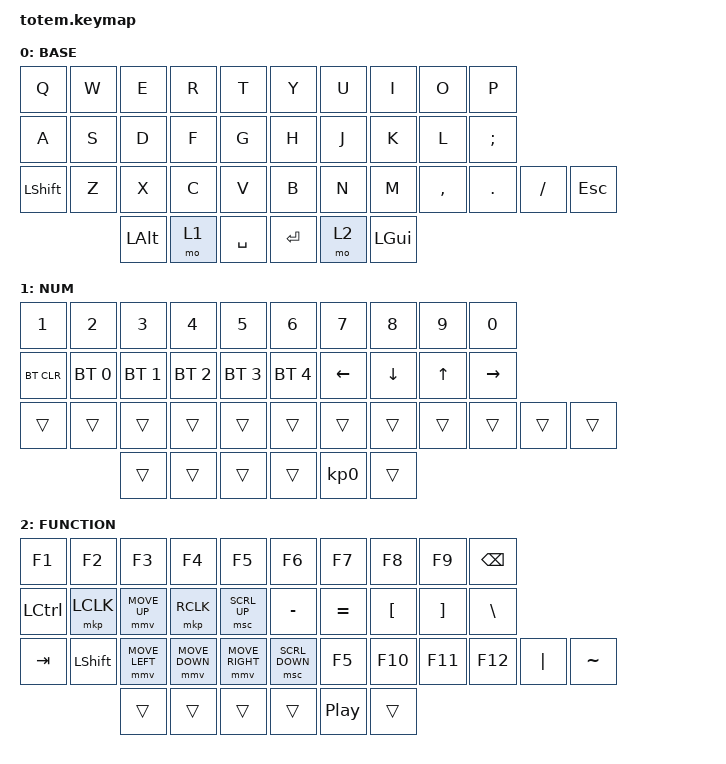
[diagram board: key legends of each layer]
//
//                                                        ▀▀▀▀▀     ▀▀▀▀▀          ▀▀█▀▀
//                                                        ▄▀▀▀▄  ▄  ▄▀▀▀▄  ▄  ▄▀▀▀▄  █  ▄▀▀▀▄
//                                                        █   █  █  █   █  █  █   █  █  █   █
//                                                         ▀▀▀   █   ▀▀▀   █   ▀▀▀   ▀   ▀▀▀
//                                                               █      ▄▄▄█▄▄▄    █   █  
//                                                               ▀      █  █  █     █▄█
//                                                             ▀▀▀▀▀    █  █  █      ▀
//                                                                      ▀  ▀  ▀
//
// ▄▄▄▄▄▄▄▄▄▄▄▄▄▄▄▄▄▄▄▄▄▄▄▄▄▄▄▄▄▄▄▄▄▄▄▄▄▄▄▄▄▄▄▄▄▄▄▄▄▄▄▄▄▄▄▄▄▄▄▄▄▄▄▄▄▄▄▄▄▄▄▄▄▄▄▄▄▄▄▄▄▄▄▄▄▄▄▄▄▄▄▄▄▄▄▄▄▄▄▄▄▄▄▄▄▄▄▄▄▄▄▄▄▄▄▄▄▄▄▄▄▄▄▄▄▄▄▄▄▄▄▄▄▄▄▄▄▄▄▄▄▄▄▄▄▄▄▄▄
       

#define ZMK_POINTING_DEFAULT_MOVE_VAL 1500

#include <behaviors.dtsi>
#include <dt-bindings/zmk/keys.h>
#include <dt-bindings/zmk/bt.h>
#include <dt-bindings/zmk/outputs.h>
#include <dt-bindings/zmk/pointing.h>

#define BASE 0
#define NAV  1
#define SYM  2

/ {
        keymap {
                compatible = "zmk,keymap";
// ▄▄▄▄▄▄▄▄▄▄▄▄▄▄▄▄▄▄▄▄▄▄▄▄▄▄▄▄▄▄▄▄▄▄▄▄▄▄▄▄▄▄▄▄▄▄▄▄▄▄▄▄▄▄▄▄▄▄▄▄▄▄▄▄▄▄▄▄▄▄▄▄▄▄▄▄▄▄▄▄▄▄▄▄▄▄▄▄▄▄▄▄▄▄▄▄▄▄▄▄▄▄▄▄▄▄▄▄▄▄▄▄▄▄▄▄▄▄▄▄▄▄▄▄▄▄▄▄▄▄▄▄▄▄▄▄▄▄▄▄▄▄▄▄▄▄▄▄▄

                base_layer {
// ┏━━━━━━━━━━━━━━━━━━━━━━━━━━━━━━━━━━━━━━━┓
label= "BASE"                              ;
// ┗━━━━━━━━━━━━━━━━━━━━━━━━━━━━━━━━━━━━━━━┛
//             ┏━━━━━━━━━━━┳━━━━━━━━━━━┳━━━━━━━━━━━┳━━━━━━━━━━━┳━━━━━━━━━━━┓   ┏━━━━━━━━━━━┳━━━━━━━━━━━┳━━━━━━━━━━━┳━━━━━━━━━━━┳━━━━━━━━━━━┓
//             ┃     Q     ┃     W     ┃     E     ┃     R     ┃     T     ┃   ┃     Y     ┃     U     ┃     I     ┃     O     ┃     P     ┃
//             ┣━━━━━━━━━━━╋━━━━━━━━━━━╋━━━━━━━━━━━╋━━━━━━━━━━━╋━━━━━━━━━━━┫   ┣━━━━━━━━━━━╋━━━━━━━━━━━╋━━━━━━━━━━━╋━━━━━━━━━━━╋━━━━━━━━━━━┫
//             ┃     A     ┃     S     ┃     D     ┃     F     ┃     G     ┃   ┃     H     ┃     J     ┃     K     ┃     L     ┃     ;     ┃
// ┏━━━━━━━━━━━╋━━━━━━━━━━━╋━━━━━━━━━━━╋━━━━━━━━━━━╋━━━━━━━━━━━╋━━━━━━━━━━━┫   ┣━━━━━━━━━━━╋━━━━━━━━━━━╋━━━━━━━━━━━╋━━━━━━━━━━━╋━━━━━━━━━━━╋━━━━━━━━━━━┓
// ┃   SHIFT   ┃     Z     ┃     X     ┃     C     ┃     V     ┃     B     ┃   ┃     N     ┃     M     ┃     ,     ┃     .     ┃     /     ┃    ESC    ┃
// ┗━━━━━━━━━━━┻━━━━━━━━━━━┻━━━━━━━━━━━╋━━━━━━━━━━━╋━━━━━━━━━━━╋━━━━━━━━━━━┫   ┣━━━━━━━━━━━╋━━━━━━━━━━━╋━━━━━━━━━━━╋━━━━━━━━━━━┻━━━━━━━━━━━┻━━━━━━━━━━━┛
//                                     ┃    ALT    ┃    LWR    ┃    SPC    ┃   ┃   ENTER   ┃    RSE    ┃    GUI    ┃
//                                     ┗━━━━━━━━━━━┻━━━━━━━━━━━┻━━━━━━━━━━━┛   ┗━━━━━━━━━━━┻━━━━━━━━━━━┻━━━━━━━━━━━┛
 bindings = <
// ╷           ╷           ╷           ╷           ╷           ╷           ╷   ╷           ╷           ╷           ╷           ╷           ╷           ╷

                &kp Q       &kp W       &kp E       &kp R       &kp T           &kp Y       &kp U       &kp I       &kp O       &kp P
                &kp A       &kp S       &kp D       &kp F       &kp G           &kp H       &kp J       &kp K       &kp L       &kp SEMI
                &kp LSHFT   &kp Z       &kp X       &kp C       &kp V       &kp B           &kp N       &kp M       &kp COMMA   &kp DOT     &kp FSLH    &kp ESC
                                        &kp LEFT_ALT &mo 1       &kp SPACE       &kp RET   &mo 2         &kp LEFT_GUI
                        >;
                };

// ▄▄▄▄▄▄▄▄▄▄▄▄▄▄▄▄▄▄▄▄▄▄▄▄▄▄▄▄▄▄▄▄▄▄▄▄▄▄▄▄▄▄▄▄▄▄▄▄▄▄▄▄▄▄▄▄▄▄▄▄▄▄▄▄▄▄▄▄▄▄▄▄▄▄▄▄▄▄▄▄▄▄▄▄▄▄▄▄▄▄▄▄▄▄▄▄▄▄▄▄▄▄▄▄▄▄▄▄▄▄▄▄▄▄▄▄▄▄▄▄▄▄▄▄▄▄▄▄▄▄▄▄▄▄▄▄▄▄▄▄▄▄▄▄▄▄▄▄▄


                nav_layer {
// ┏━━━━━━━━━━━━━━━━━━━━━━━━━━━━━━━━━━━━━━━┓
label= "NUM"                               ;
// ┗━━━━━━━━━━━━━━━━━━━━━━━━━━━━━━━━━━━━━━━┛
//             ┏━━━━━━━━━━━┳━━━━━━━━━━━┳━━━━━━━━━━━┳━━━━━━━━━━━┳━━━━━━━━━━━┓   ┏━━━━━━━━━━━┳━━━━━━━━━━━┳━━━━━━━━━━━┳━━━━━━━━━━━┳━━━━━━━━━━━┓
//             ┃     1     ┃     2     ┃     3     ┃     4     ┃     5     ┃   ┃     6     ┃     7     ┃     8     ┃     9     ┃     0     ┃
//             ┣━━━━━━━━━━━╋━━━━━━━━━━━╋━━━━━━━━━━━╋━━━━━━━━━━━╋━━━━━━━━━━━┫   ┣━━━━━━━━━━━╋━━━━━━━━━━━╋━━━━━━━━━━━╋━━━━━━━━━━━╋━━━━━━━━━━━┫
//             ┃ BT CLEAR  ┃   BT 1    ┃   BT 2    ┃   BT 3    ┃   BT 4    ┃   ┃   BT 5    ┃   LEFT    ┃   DOWN    ┃    UP     ┃   RIGHT   ┃
// ┏━━━━━━━━━━━╋━━━━━━━━━━━╋━━━━━━━━━━━╋━━━━━━━━━━━╋━━━━━━━━━━━╋━━━━━━━━━━━┫   ┣━━━━━━━━━━━╋━━━━━━━━━━━╋━━━━━━━━━━━╋━━━━━━━━━━━╋━━━━━━━━━━━╋━━━━━━━━━━━┓
// ┃           ┃           ┃           ┃           ┃           ┃           ┃   ┃           ┃           ┃           ┃           ┃           ┃           ┃
// ┗━━━━━━━━━━━┻━━━━━━━━━━━┻━━━━━━━━━━━╋━━━━━━━━━━━╋━━━━━━━━━━━╋━━━━━━━━━━━┫   ┣━━━━━━━━━━━╋━━━━━━━━━━━╋━━━━━━━━━━━╋━━━━━━━━━━━┻━━━━━━━━━━━┻━━━━━━━━━━━┛
//                                     ┃           ┃    TAB    ┃    SPC    ┃   ┃    DEL    ┃     0     ┃           ┃
//                                     ┗━━━━━━━━━━━┻━━━━━━━━━━━┻━━━━━━━━━━━┛   ┗━━━━━━━━━━━┻━━━━━━━━━━━┻━━━━━━━━━━━┛
 bindings = <
// ╷           ╷           ╷           ╷           ╷           ╷           ╷   ╷           ╷           ╷           ╷           ╷           ╷           ╷

                &kp N1      &kp N2      &kp N3      &kp N4      &kp N5          &kp N6      &kp N7      &kp N8      &kp N9      &kp N0
                &bt BT_CLR  &bt BT_SEL 0 &bt BT_SEL 1 &bt BT_SEL 2 &bt BT_SEL 3  &bt BT_SEL 4 &kp LEFT    &kp DOWN    &kp UP      &kp RIGHT
    &trans      &trans      &trans      &trans      &trans      &trans          &trans      &trans      &trans      &trans      &trans      &trans
                                        &trans      &trans      &trans          &trans      &kp KP_N0   &trans      
                        >;
                };

// ▄▄▄▄▄▄▄▄▄▄▄▄▄▄▄▄▄▄▄▄▄▄▄▄▄▄▄▄▄▄▄▄▄▄▄▄▄▄▄▄▄▄▄▄▄▄▄▄▄▄▄▄▄▄▄▄▄▄▄▄▄▄▄▄▄▄▄▄▄▄▄▄▄▄▄▄▄▄▄▄▄▄▄▄▄▄▄▄▄▄▄▄▄▄▄▄▄▄▄▄▄▄▄▄▄▄▄▄▄▄▄▄▄▄▄▄▄▄▄▄▄▄▄▄▄▄▄▄▄▄▄▄▄▄▄▄▄▄▄▄▄▄▄▄▄▄▄▄▄


                sim_layer {
// ┏━━━━━━━━━━━━━━━━━━━━━━━━━━━━━━━━━━━━━━━┓
label= "FUNCTION"                          ;
// ┗━━━━━━━━━━━━━━━━━━━━━━━━━━━━━━━━━━━━━━━┛
//             ┏━━━━━━━━━━━┳━━━━━━━━━━━┳━━━━━━━━━━━┳━━━━━━━━━━━┳━━━━━━━━━━━┓   ┏━━━━━━━━━━━┳━━━━━━━━━━━┳━━━━━━━━━━━┳━━━━━━━━━━━┳━━━━━━━━━━━┓
//             ┃    F1     ┃    F2     ┃    F3     ┃    F4     ┃    F5     ┃   ┃    F6     ┃    F7     ┃    F8     ┃    F9     ┃   BSPC    ┃
//             ┣━━━━━━━━━━━╋━━━━━━━━━━━╋━━━━━━━━━━━╋━━━━━━━━━━━╋━━━━━━━━━━━┫   ┣━━━━━━━━━━━╋━━━━━━━━━━━╋━━━━━━━━━━━╋━━━━━━━━━━━╋━━━━━━━━━━━┫
//             ┃   CTRL    ┃ L-CLICK   ┃ MOVE UP   ┃ R-CLICK   ┃ SCRL UP   ┃   ┃     -     ┃     =     ┃     [     ┃     ]     ┃ BACKSLASH┃
// ┏━━━━━━━━━━━╋━━━━━━━━━━━╋━━━━━━━━━━━╋━━━━━━━━━━━╋━━━━━━━━━━━╋━━━━━━━━━━━┫   ┣━━━━━━━━━━━╋━━━━━━━━━━━╋━━━━━━━━━━━╋━━━━━━━━━━━╋━━━━━━━━━━━╋━━━━━━━━━━━┓
// ┃    TAB    ┃   SHIFT   ┃ MOVE LEFT ┃ MOVE DOWN ┃ MOVE RIGHT┃ SCRL DOWN┃   ┃    F5     ┃   F10     ┃   F11     ┃   F12     ┃     |     ┃     ~     ┃
// ┗━━━━━━━━━━━┻━━━━━━━━━━━┻━━━━━━━━━━━╋━━━━━━━━━━━╋━━━━━━━━━━━╋━━━━━━━━━━━┫   ┣━━━━━━━━━━━╋━━━━━━━━━━━╋━━━━━━━━━━━╋━━━━━━━━━━━┻━━━━━━━━━━━┻━━━━━━━━━━━┛
//                                     ┃           ┃   TRANS   ┃   TRANS   ┃   ┃           ┃           ┃           ┃
//                                     ┗━━━━━━━━━━━┻━━━━━━━━━━━┻━━━━━━━━━━━┛   ┗━━━━━━━━━━━┻━━━━━━━━━━━┻━━━━━━━━━━━┛
 bindings = <
// ╷           ╷           ╷           ╷           ╷           ╷           ╷   ╷           ╷           ╷           ╷           ╷           ╷           ╷

                &kp F1      &kp F2      &kp F3      &kp F4      &kp F5          &kp F6      &kp F7      &kp F8      &kp F9      &kp BSPC
                &kp LCTRL   &mkp LCLK  &mmv MOVE_UP &mkp RCLK  &msc SCRL_UP    &kp MINUS   &kp EQUAL   &kp LBKT    &kp RBKT    &kp BSLH
    &kp TAB     &kp LSHFT  &mmv MOVE_LEFT &mmv MOVE_DOWN &mmv MOVE_RIGHT &msc SCRL_DOWN &kp F5  &kp F10     &kp F11     &kp F12     &kp PIPE    &kp TILDE
                                        &trans      &trans      &trans          &trans      &kp C_PP    &trans      
                        >;
                };

// ▄▄▄▄▄▄▄▄▄▄▄▄▄▄▄▄▄▄▄▄▄▄▄▄▄▄▄▄▄▄▄▄▄▄▄▄▄▄▄▄▄▄▄▄▄▄▄▄▄▄▄▄▄▄▄▄▄▄▄▄▄▄▄▄▄▄▄▄▄▄▄▄▄▄▄▄▄▄▄▄▄▄▄▄▄▄▄▄▄▄▄▄▄▄▄▄▄▄▄▄▄▄▄▄▄▄▄▄▄▄▄▄▄▄▄▄▄▄▄▄▄▄▄▄▄▄▄▄▄▄▄▄▄▄▄▄▄▄▄▄▄▄▄▄▄▄▄▄▄
        };
};
